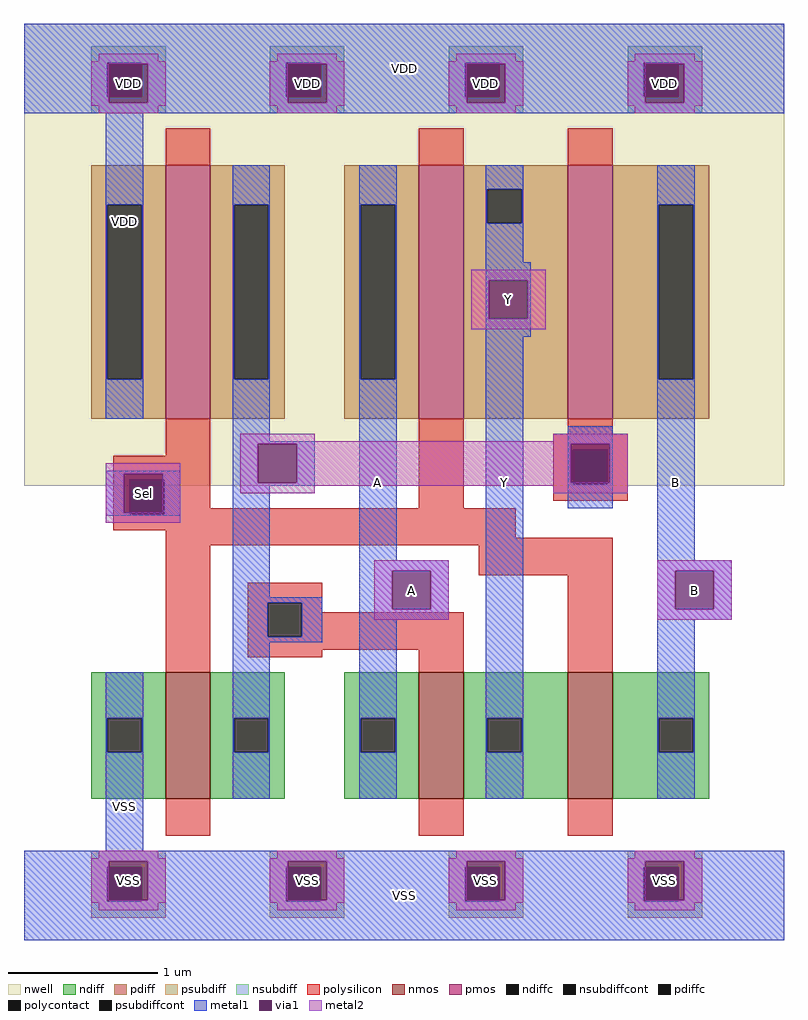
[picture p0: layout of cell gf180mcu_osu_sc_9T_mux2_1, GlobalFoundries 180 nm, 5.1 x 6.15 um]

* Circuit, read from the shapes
.subckt gf180mcu_osu_sc_9T_mux2_1 Y Sel A B VDD VSS
XM1 n1 Sel VSS VSS nfet_03v3 w=0.85u l=0.3u
XM2 Y n1 A VSS nfet_03v3 w=0.85u l=0.3u
XM3 B Sel Y VSS nfet_03v3 w=0.85u l=0.3u
XM4 n1 Sel VDD VDD pfet_03v3 w=1.7u l=0.3u
XM5 Y Sel A VDD pfet_03v3 w=1.7u l=0.3u
XM6 B n1 Y VDD pfet_03v3 w=1.7u l=0.3u
.ends

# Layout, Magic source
magic
tech gf180mcuB
magscale 1 10
<< nwell >>
rect 0 610 1020 1230
<< nmos >>
rect 190 190 250 360
rect 530 190 590 360
rect 730 190 790 360
<< pmos >>
rect 190 700 250 1040
rect 530 700 590 1040
rect 730 700 790 1040
<< ndiff >>
rect 90 298 190 360
rect 90 252 112 298
rect 158 252 190 298
rect 90 190 190 252
rect 250 298 350 360
rect 250 252 282 298
rect 328 252 350 298
rect 250 190 350 252
rect 430 298 530 360
rect 430 252 452 298
rect 498 252 530 298
rect 430 190 530 252
rect 590 298 730 360
rect 590 252 622 298
rect 668 252 730 298
rect 590 190 730 252
rect 790 298 920 360
rect 790 252 852 298
rect 898 252 920 298
rect 790 190 920 252
<< pdiff >>
rect 90 987 190 1040
rect 90 753 112 987
rect 158 753 190 987
rect 90 700 190 753
rect 250 987 350 1040
rect 250 753 282 987
rect 328 753 350 987
rect 250 700 350 753
rect 430 987 530 1040
rect 430 753 452 987
rect 498 753 530 987
rect 430 700 530 753
rect 590 1008 730 1040
rect 590 962 622 1008
rect 668 962 730 1008
rect 590 700 730 962
rect 790 987 920 1040
rect 790 753 852 987
rect 898 753 920 987
rect 790 700 920 753
<< ndiffc >>
rect 112 252 158 298
rect 282 252 328 298
rect 452 252 498 298
rect 622 252 668 298
rect 852 252 898 298
<< pdiffc >>
rect 112 753 158 987
rect 282 753 328 987
rect 452 753 498 987
rect 622 962 668 1008
rect 852 753 898 987
<< psubdiff >>
rect 90 98 190 120
rect 90 52 112 98
rect 158 52 190 98
rect 90 30 190 52
rect 330 98 430 120
rect 330 52 352 98
rect 398 52 430 98
rect 330 30 430 52
rect 570 98 670 120
rect 570 52 592 98
rect 638 52 670 98
rect 570 30 670 52
rect 810 98 910 120
rect 810 52 832 98
rect 878 52 910 98
rect 810 30 910 52
<< nsubdiff >>
rect 90 1178 190 1200
rect 90 1132 112 1178
rect 158 1132 190 1178
rect 90 1110 190 1132
rect 330 1178 430 1200
rect 330 1132 352 1178
rect 398 1132 430 1178
rect 330 1110 430 1132
rect 570 1178 670 1200
rect 570 1132 592 1178
rect 638 1132 670 1178
rect 570 1110 670 1132
rect 810 1178 910 1200
rect 810 1132 832 1178
rect 878 1132 910 1178
rect 810 1110 910 1132
<< psubdiffcont >>
rect 112 52 158 98
rect 352 52 398 98
rect 592 52 638 98
rect 832 52 878 98
<< nsubdiffcont >>
rect 112 1132 158 1178
rect 352 1132 398 1178
rect 592 1132 638 1178
rect 832 1132 878 1178
<< polysilicon >>
rect 190 1040 250 1090
rect 530 1040 590 1090
rect 730 1040 790 1090
rect 190 650 250 700
rect 120 618 250 650
rect 120 572 142 618
rect 188 580 250 618
rect 530 580 590 700
rect 730 680 790 700
rect 710 658 810 680
rect 710 612 737 658
rect 783 612 810 658
rect 710 590 810 612
rect 188 572 660 580
rect 120 550 660 572
rect 190 540 660 550
rect 190 530 790 540
rect 190 360 250 530
rect 610 490 790 530
rect 300 453 400 480
rect 300 407 327 453
rect 373 440 400 453
rect 373 407 590 440
rect 300 390 590 407
rect 300 380 400 390
rect 530 360 590 390
rect 730 360 790 490
rect 190 140 250 190
rect 530 140 590 190
rect 730 140 790 190
<< polycontact >>
rect 142 572 188 618
rect 737 612 783 658
rect 327 407 373 453
<< metal1 >>
rect 0 1178 1020 1230
rect 0 1132 112 1178
rect 158 1176 352 1178
rect 398 1176 592 1178
rect 638 1176 832 1178
rect 878 1176 1020 1178
rect 166 1132 352 1176
rect 406 1132 592 1176
rect 646 1132 832 1176
rect 0 1124 114 1132
rect 166 1124 354 1132
rect 406 1124 594 1132
rect 646 1124 834 1132
rect 886 1124 1020 1176
rect 0 1110 1020 1124
rect 110 987 160 1110
rect 110 753 112 987
rect 158 753 160 987
rect 110 700 160 753
rect 280 987 330 1040
rect 280 753 282 987
rect 328 753 330 987
rect 280 670 330 753
rect 450 987 500 1040
rect 450 753 452 987
rect 498 753 500 987
rect 280 666 390 670
rect 110 626 210 630
rect 110 574 134 626
rect 186 618 210 626
rect 110 572 142 574
rect 188 572 210 618
rect 110 570 210 572
rect 280 614 314 666
rect 366 614 390 666
rect 280 610 390 614
rect 280 460 330 610
rect 450 510 500 753
rect 620 1008 670 1040
rect 620 962 622 1008
rect 668 962 670 1008
rect 620 910 670 962
rect 850 987 900 1040
rect 620 886 680 910
rect 620 834 624 886
rect 676 834 680 886
rect 620 810 680 834
rect 450 496 570 510
rect 280 453 400 460
rect 280 407 327 453
rect 373 407 400 453
rect 280 400 400 407
rect 450 444 494 496
rect 546 444 570 496
rect 450 430 570 444
rect 110 298 160 360
rect 110 252 112 298
rect 158 252 160 298
rect 110 120 160 252
rect 280 298 330 400
rect 280 252 282 298
rect 328 252 330 298
rect 280 190 330 252
rect 450 298 500 430
rect 450 252 452 298
rect 498 252 500 298
rect 450 190 500 252
rect 620 298 670 810
rect 850 753 852 987
rect 898 753 900 987
rect 730 666 790 690
rect 730 614 734 666
rect 786 614 790 666
rect 730 612 737 614
rect 783 612 790 614
rect 730 580 790 612
rect 620 252 622 298
rect 668 252 670 298
rect 620 190 670 252
rect 850 510 900 753
rect 850 496 950 510
rect 850 444 874 496
rect 926 444 950 496
rect 850 430 950 444
rect 850 298 900 430
rect 850 252 852 298
rect 898 252 900 298
rect 850 190 900 252
rect 0 106 1020 120
rect 0 98 114 106
rect 166 98 354 106
rect 406 98 594 106
rect 646 98 834 106
rect 0 52 112 98
rect 166 54 352 98
rect 406 54 592 98
rect 646 54 832 98
rect 886 54 1020 106
rect 158 52 352 54
rect 398 52 592 54
rect 638 52 832 54
rect 878 52 1020 54
rect 0 0 1020 52
<< via1 >>
rect 114 1132 158 1176
rect 158 1132 166 1176
rect 354 1132 398 1176
rect 398 1132 406 1176
rect 594 1132 638 1176
rect 638 1132 646 1176
rect 834 1132 878 1176
rect 878 1132 886 1176
rect 114 1124 166 1132
rect 354 1124 406 1132
rect 594 1124 646 1132
rect 834 1124 886 1132
rect 134 618 186 626
rect 134 574 142 618
rect 142 574 186 618
rect 314 614 366 666
rect 624 834 676 886
rect 494 444 546 496
rect 734 658 786 666
rect 734 614 737 658
rect 737 614 783 658
rect 783 614 786 658
rect 874 444 926 496
rect 114 98 166 106
rect 354 98 406 106
rect 594 98 646 106
rect 834 98 886 106
rect 114 54 158 98
rect 158 54 166 98
rect 354 54 398 98
rect 398 54 406 98
rect 594 54 638 98
rect 638 54 646 98
rect 834 54 878 98
rect 878 54 886 98
<< metal2 >>
rect 100 1180 180 1190
rect 340 1180 420 1190
rect 580 1180 660 1190
rect 820 1180 900 1190
rect 90 1176 190 1180
rect 90 1124 114 1176
rect 166 1124 190 1176
rect 90 1120 190 1124
rect 330 1176 430 1180
rect 330 1124 354 1176
rect 406 1124 430 1176
rect 330 1120 430 1124
rect 570 1176 670 1180
rect 570 1124 594 1176
rect 646 1124 670 1176
rect 570 1120 670 1124
rect 810 1176 910 1180
rect 810 1124 834 1176
rect 886 1124 910 1176
rect 810 1120 910 1124
rect 100 1110 180 1120
rect 340 1110 420 1120
rect 580 1110 660 1120
rect 820 1110 900 1120
rect 600 886 700 900
rect 600 834 624 886
rect 676 834 700 886
rect 600 820 700 834
rect 290 670 390 680
rect 710 670 810 680
rect 290 666 810 670
rect 110 626 210 640
rect 110 574 134 626
rect 186 574 210 626
rect 290 614 314 666
rect 366 614 734 666
rect 786 614 810 666
rect 290 610 810 614
rect 290 600 390 610
rect 710 600 810 610
rect 110 560 210 574
rect 470 496 570 510
rect 470 444 494 496
rect 546 444 570 496
rect 470 430 570 444
rect 850 496 950 510
rect 850 444 874 496
rect 926 444 950 496
rect 850 430 950 444
rect 100 110 180 120
rect 340 110 420 120
rect 580 110 660 120
rect 820 110 900 120
rect 90 106 190 110
rect 90 54 114 106
rect 166 54 190 106
rect 90 50 190 54
rect 330 106 430 110
rect 330 54 354 106
rect 406 54 430 106
rect 330 50 430 54
rect 570 106 670 110
rect 570 54 594 106
rect 646 54 670 106
rect 570 50 670 54
rect 810 106 910 110
rect 810 54 834 106
rect 886 54 910 106
rect 810 50 910 54
rect 100 40 180 50
rect 340 40 420 50
rect 580 40 660 50
rect 820 40 900 50
<< labels >>
rlabel metal2 s 100 1110 180 1190 4 VDD
port 10 nsew power bidirectional abutment
rlabel metal2 s 100 40 180 120 4 VSS
port 11 nsew ground bidirectional
rlabel metal2 s 600 820 700 900 4 Y
port 1 nsew signal output
rlabel metal2 s 110 560 210 640 4 Sel
port 2 nsew signal output
rlabel metal2 s 470 430 570 510 4 A
port 3 nsew signal input
rlabel metal2 s 850 430 950 510 4 B
port 4 nsew signal input
rlabel metal1 s 450 190 500 1040 1 A
port 3 nsew signal input
rlabel metal1 s 450 430 570 510 1 A
port 3 nsew signal input
rlabel metal1 s 850 190 900 1040 1 B
port 4 nsew signal input
rlabel metal1 s 850 430 950 510 1 B
port 4 nsew signal input
rlabel metal1 s 110 570 210 630 1 Sel
port 2 nsew signal output
rlabel metal2 s 90 1120 190 1180 1 VDD
port 10 nsew power bidirectional abutment
rlabel metal2 s 340 1110 420 1190 1 VDD
port 10 nsew power bidirectional abutment
rlabel metal2 s 330 1120 430 1180 1 VDD
port 10 nsew power bidirectional abutment
rlabel metal2 s 580 1110 660 1190 1 VDD
port 10 nsew power bidirectional abutment
rlabel metal2 s 570 1120 670 1180 1 VDD
port 10 nsew power bidirectional abutment
rlabel metal2 s 820 1110 900 1190 1 VDD
port 10 nsew power bidirectional abutment
rlabel metal2 s 810 1120 910 1180 1 VDD
port 10 nsew power bidirectional abutment
rlabel metal1 s 110 700 160 1230 1 VDD
port 10 nsew power bidirectional abutment
rlabel metal1 s 0 1110 1020 1230 1 VDD
port 10 nsew power bidirectional abutment
rlabel metal2 s 90 50 190 110 1 VSS
port 11 nsew ground bidirectional
rlabel metal2 s 340 40 420 120 1 VSS
port 11 nsew ground bidirectional
rlabel metal2 s 330 50 430 110 1 VSS
port 11 nsew ground bidirectional
rlabel metal2 s 580 40 660 120 1 VSS
port 11 nsew ground bidirectional
rlabel metal2 s 570 50 670 110 1 VSS
port 11 nsew ground bidirectional
rlabel metal2 s 820 40 900 120 1 VSS
port 11 nsew ground bidirectional
rlabel metal2 s 810 50 910 110 1 VSS
port 11 nsew ground bidirectional
rlabel metal1 s 110 0 160 360 1 VSS
port 11 nsew ground bidirectional
rlabel metal1 s 0 0 1020 120 1 VSS
port 11 nsew ground bidirectional
rlabel metal1 s 620 190 670 1040 1 Y
port 1 nsew signal output
rlabel metal1 s 620 810 680 910 1 Y
port 1 nsew signal output
<< properties >>
string FIXED_BBOX 0 0 1020 1230
string GDS_END 414372
string GDS_FILE $PDKPATH/libs.ref/gf180mcu_osu_sc_9T/gds/gf180mcu_osu_sc_9T.gds
string GDS_START 404982
string LEFclass CORE
string LEFsite GF018hv5v_mcu_sc7
string LEFsymmetry X Y
<< end >>
